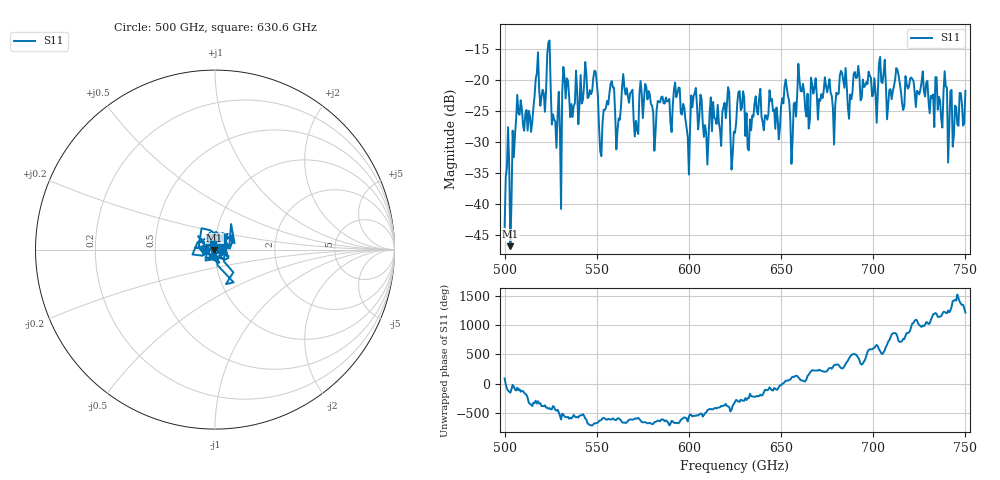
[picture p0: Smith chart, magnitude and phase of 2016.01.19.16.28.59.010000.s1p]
!Created with skrf (http://scikit-rf.org).
# GHz S RI R 50.0
!freq ReS11 ImS11
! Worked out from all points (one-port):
!   401 points, 500 GHz to 750 GHz, reference 50 ohm
!   lowest |S11| = -46.8 dB at 503.1 GHz (marker M1), VSWR 1.01, Z = 49.6 - j0.179 ohm
!   |S11| at or under -10 dB: start of sweep to end of sweep
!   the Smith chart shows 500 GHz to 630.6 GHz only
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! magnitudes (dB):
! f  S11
! 500 GHz  -43.6
! 503.1 GHz  -46.8
! 507.5 GHz  -25.3
! 513.8 GHz  -25.8
! 523.8 GHz  -13.9
! 526.9 GHz  -26.3
! 531.2 GHz  -22.0
! 533.1 GHz  -22.9
! 536.9 GHz  -25.9
! 548.8 GHz  -18.4
! 552.5 GHz  -32.2
! 558.1 GHz  -20.1
! 562.5 GHz  -26.4
! 593.8 GHz  -22.1
! 599.4 GHz  -29.1
! 602.5 GHz  -22.6
! 609.4 GHz  -28.5
! 620.6 GHz  -23.9
! 625 GHz  -28.5
! 648.1 GHz  -26.0
! 653.1 GHz  -21.3
! 656.2 GHz  -29.6
! 660.6 GHz  -21.7
! 664.4 GHz  -22.2
! 683.8 GHz  -20.0
! 687.5 GHz  -22.3
! 718.8 GHz  -21.3
! 750 GHz  -21.7
